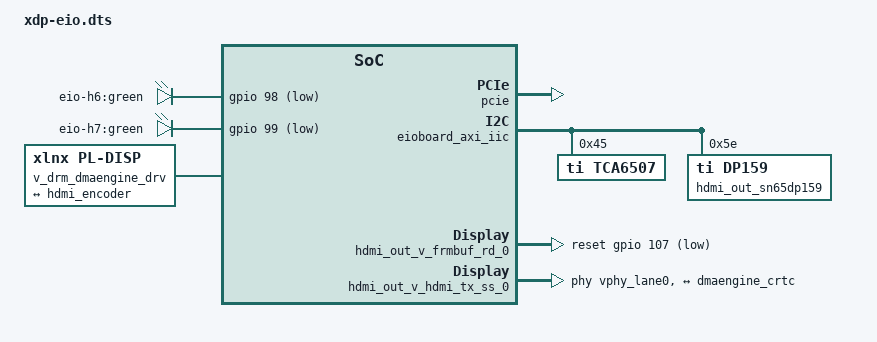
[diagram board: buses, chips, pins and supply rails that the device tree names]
/*
 * dts overlay file for XDP (Xilinx Drone Platform) board
 *
 * (C) Copyright 2019, Topic Embedded Products BV
 *
 * This program is free software; you can redistribute it and/or
 * modify it under the terms of the GNU General Public License as
 * published by the Free Software Foundation; either version 2 of
 * the License, or (at your option) any later version.
 */
/dts-v1/;
/plugin/;

#include <dt-bindings/gpio/gpio.h>
#include <dt-bindings/interrupt-controller/irq.h>
#include <dt-bindings/clock/xlnx-zynqmp-clk.h>

/ {
	/* This fragment enables PCIe (M2 connector) */
	fragment@0 {
		target = <&pcie>;
		__overlay__ {
			status = "okay";
		};
	};

	/* GPIO LEDs on the EIO board */
	fragment@1 {
		target-path = "/";
		__overlay__ {
			leds-eio {
				compatible = "gpio-leds";
				eio_led_1 {
					label = "eio-h6:green";
					gpios = <&gpio 98 GPIO_ACTIVE_LOW>; /* EMIO 20 */
					linux,default-trigger = "disk-activity"; /* Blink when NVME disk is working */
				};
				eio_led_2 {
					label = "eio-h7:green";
					gpios = <&gpio 99 GPIO_ACTIVE_LOW>; /* EMIO 21 */
					linux,default-trigger = "mmc0";
				};
			};
		};
	};

	/* IIC components on the EIO board */
	fragment@2 {
		target = <&eioboard_axi_iic>;
		__overlay__ {
			tca6507: tca6507@45 {
				compatible = "ti,tca6507";
				#address-cells = <1>;
				#size-cells = <0>;
				reg = <0x45>;

				eio_led1_r: eio-led@0 {
					label = "eio-h3:red";
					reg = <0x0>;
				};
				eio_led1_g: eio-led@1 {
					label = "eio-h3:green";
					reg = <0x1>;
				};
				eio_led1_b: eio-led@2 {
					label = "eio-h3:blue";
					reg = <0x2>;
				};
				eio_led2_r: eio-led@3 {
					label = "eio-h4:red";
					reg = <0x3>;
				};
				eio_led2_g: eio-led@4 {
					label = "eio-h4:green";
					reg = <0x4>;
				};
				eio_led2_b: eio-led@5 {
					label = "eio-h4:blue";
					reg = <0x5>;
				};
				eio_buzzer: eio-led@6 {
					label = "eio-h2:beep";
					reg = <0x6>;
				};
			};
			/* SN65DP159 HDMI retimer on EIO board*/
			hdmi_out_sn65dp159: hdmi-retimer@5e {
				status = "okay";
				compatible = "ti,dp159";
				reg = <0x5e>;
				#address-cells = <1>;
				#size-cells = <0>;
				#clock-cells = <0>;
			};
		};
	};


	/* FPGA AXI memory map. These are actually present all times, but don't make sense without the EIO board */
	fragment@3 {
		target = <&amba>;
		__overlay__ {

 			hdmi_out_v_frmbuf_rd_0: v_frmbuf_rd@a0140000 {
				#dma-cells = <1>;
				clock-names = "ap_clk";
				clocks = <&zynqmp_clk PL1_REF>;
				compatible = "xlnx,v-frmbuf-rd-2.1", "xlnx,axi-frmbuf-rd-v2.1";
				interrupt-names = "interrupt";
				interrupt-parent = <&gic>;
				interrupts = <0 110 4>;
				reg = <0x0 0xa0140000 0x0 0x10000>;
				reset-gpios = <&gpio 107 GPIO_ACTIVE_LOW>;
				xlnx,dma-addr-width = <32>;
				xlnx,dma-align = <16>;
				xlnx,max-height = <2160>;
				xlnx,max-width = <3840>;
				xlnx,pixels-per-clock = <2>;
				xlnx,s-axi-ctrl-addr-width = <0x7>;
				xlnx,s-axi-ctrl-data-width = <0x20>;
				xlnx,vid-formats = "bgr888","rgb888","xbgr8888","xrgb8888","vuy888","xvuy8888","y8","yuyv","uyvy","nv16","nv12";
				xlnx,video-width = <8>;
			};

			hdmi_out_v_hdmi_tx_ss_0: v_hdmi_tx_ss@a0060000 {
				compatible = "xlnx,v-hdmi-tx-ss-3.1";
				reg = <0x0 0xa0060000 0x0 0x20000>;

				clock-names = "s_axi_cpu_aclk", "s_axis_video_aclk", "txref-clk", "retimer-clk";
				clocks = <&zynqmp_clk PL0_REF>, <&zynqmp_clk PL1_REF>, <&si5341 0 3>, <&hdmi_out_sn65dp159>;

				tx-refclk-rdy-gpios = <&gpio 85 0>;
				phy-names = "hdmi-phy0", "hdmi-phy1", "hdmi-phy2";
				phys = <&vphy_lane0 0 1 1 1>, <&vphy_lane1 0 1 1 1>, <&vphy_lane2 0 1 1 1>;
				interrupt-names = "hdmitx";
				interrupt-parent = <&gic>;
				interrupts = <0 109 4>;

				xlnx,input-pixels-per-clock = <2>;
				xlnx,max-bits-per-component = <8>;

				ports {
					#address-cells = <1>;
					#size-cells = <0>;
					encoder_hdmi_port: port@0 {
						reg = <0>;
						hdmi_encoder: endpoint {
							remote-endpoint = <&dmaengine_crtc>;
						};
					};
				};
			};

			axi_vdma_0: axivdma@a0020000 {
				compatible = "xlnx,axi-vdma-1.00.a";
				#address-cells = <1>;
				#size-cells = <1>;
				#dma-cells = <1>;
				#dma-channels = <1>;
				reg = <0 0xa0020000 0 0x10000>;
				dma-ranges = <0x00000000 0x00000000 0x40000000>;
				xlnx,num-fstores = <3>;
				xlnx,flush-fsync = <1>;
				xlnx,addrwidth = <32>;
				clocks = <&zynqmp_clk PL1_REF>;
				clock-names = "s_axi_lite_aclk";
				interrupt-names = "mm2s_introut";
				interrupt-parent = <&gic>;
				interrupts = <0 96 4>;
				dma-channel@a0020000 {
					compatible = "xlnx,axi-vdma-mm2s-channel";
					interrupts = <0 96 4>;
					xlnx,datawidth = <64>;
					xlnx,genlock-mode;
				};
			};

			vdma_fb_drv: hdmitx-vdma-vdmafb {
				compatible = "topic,vdma-fb";
				dmas = <&axi_vdma_0 0>;
				dma-names = "video";
				num-fstores = <3>;
				width = <1920>;
				height = <1080>;
			};

			v_drm_dmaengine_drv: drm-dmaengine-drv {
				compatible = "xlnx,pl-disp";
				//dmas = <&axi_vdma_0 0>;
				dmas = <&hdmi_out_v_frmbuf_rd_0 0>;
				dma-names = "dma0";
				xlnx,vformat = "BG24";
				#address-cells = <1>;
				#size-cells = <0>;
				dmaengine_port: port@0 {
					reg = <0>;
					dmaengine_crtc: endpoint {
						remote-endpoint = <&hdmi_encoder>;
					};
				};
			};

			hdmi_out_vid_phy_controller_0: vid_phy_controller@a0080000 {
				compatible = "xlnx,vid-phy-controller-2.2", "xlnx,vid-phy-controller-2.1";
				interrupt-names = "irq";
				interrupt-parent = <&gic>;
				interrupts = <0 104 4>;
				reg = <0x0 0xa0080000 0x0 0x10000>;

				clock-names = "vid_phy_axi4lite_aclk";
				clocks = <&zynqmp_clk PL0_REF>;

				xlnx,hdmi-fast-switch = <1>;
				xlnx,input-pixels-per-clock = <2>;
				xlnx,nidru = <0>;
				xlnx,nidru-refclk-sel = <0>;
				xlnx,rx-no-of-channels = <3>;
				xlnx,rx-pll-selection = <0>;
				xlnx,rx-protocol = <3>;
				xlnx,rx-refclk-sel = <1>;
				xlnx,transceiver-type = <5>;
				xlnx,transceiver-width = <2>;
				xlnx,tx-buffer-bypass = <1>;
				xlnx,tx-no-of-channels = <4>;
				xlnx,tx-pll-selection = <6>;
				xlnx,tx-protocol = <1>;
				xlnx,tx-refclk-sel = <0>;
				xlnx,use-gt-ch4-hdmi = <1>;
				vphy_lane0: vphy_lane0 {
					#phy-cells = <4>;
				};
				vphy_lane1: vphy_lane1 {
					#phy-cells = <4>;
				};
				vphy_lane2: vphy_lane2 {
					#phy-cells = <4>;
				};
				vphy_lane3: vphy_lane3 {
					#phy-cells = <4>;
				};
			};
		};
	};

};
